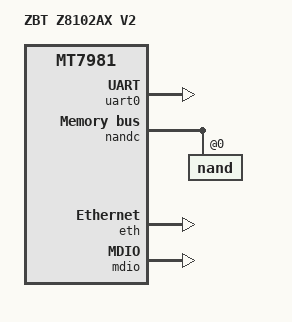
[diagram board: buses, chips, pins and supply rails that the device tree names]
/dts-v1/;
#include "mt7981.dtsi"

/ {
    model = "ZBT Z8102AX V2";
    compatible = "zbt,z8102ax-v2", "mediatek,mt7981";

    aliases {
        serial0 = &uart0;
    };

    chosen {
        stdout-path = "serial0:115200n8";
    };
};

&uart0 {
    status = "okay";
};

&nandc {
    status = "okay";

    nand@0 {
        reg = <0>;
        nand-use-ecc-placement-mode;
        nand-ecc-step = 512;
        nand-ecc-size = 72;
        nand-on-flash-bbt;
    };
};

&eth {
    status = "okay";
    mac-address = [00 00 00 00 00 00];
};

&mdio {
    status = "okay";
};

&gpio {
    status = "okay";
};
